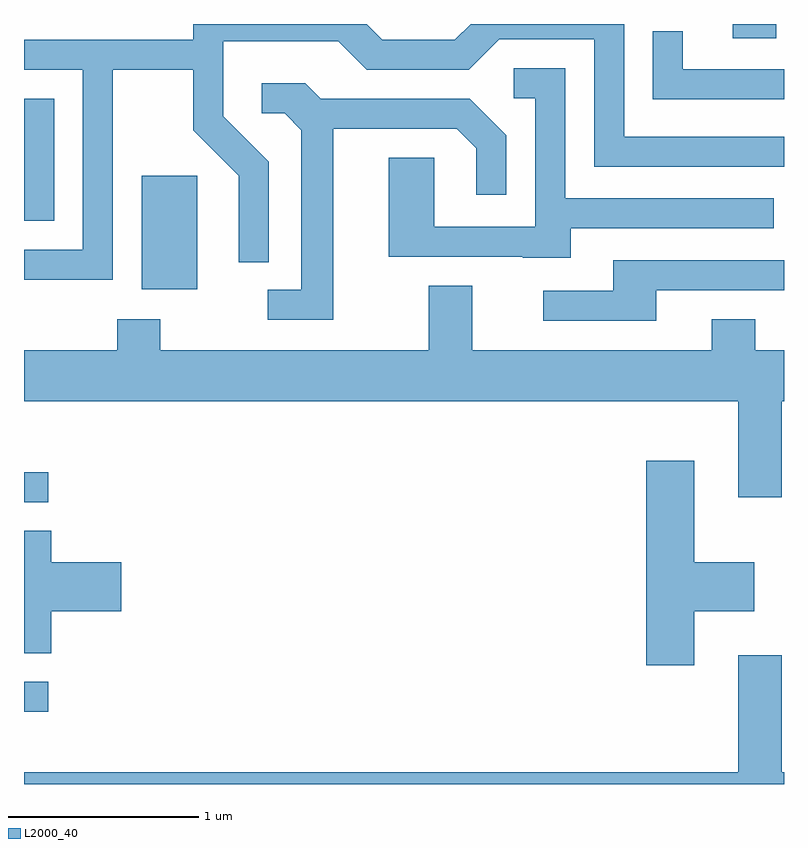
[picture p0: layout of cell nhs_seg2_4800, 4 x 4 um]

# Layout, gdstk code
import gdstk
lib = gdstk.Library(unit=1e-6, precision=1e-09)
def R(c, l, rs):  # rectangles x0, y0, x1, y1
    for r in rs: c.add(gdstk.rectangle(r[:2], r[2:], *l))
def P(c, l, *ps):  # polygons
    for p in ps: c.add(gdstk.Polygon(p, *l))
L2000_40 = (2000, 40)

nhs_seg2_4800 = lib.new_cell('nhs_seg2_4800')
R(nhs_seg2_4800, L2000_40, [(325.611,1102.181,325.738,1102.339), (325.611,1103.286,325.738,1103.444), (326.231,1104.406,326.524,1105.004), (325.611,1104.766,325.769,1105.409), (329.341,1105.726,329.569,1105.802)])
P(nhs_seg2_4800, L2000_40, [(326.079,1105.561),(326.501,1105.561),(326.501,1105.244),(326.741,1105.004),(326.741,1104.548),(326.899,1104.548),(326.899,1105.077),(326.659,1105.317),(326.659,1105.711),(327.264,1105.711),(327.414,1105.561),(327.952,1105.561),(328.112,1105.721),(328.611,1105.721),(328.611,1105.051),(329.611,1105.051),(329.611,1105.209),(328.769,1105.209),(328.769,1105.802),(327.962,1105.802),(327.879,1105.719),(327.497,1105.719),(327.414,1105.802),(326.501,1105.802),(326.501,1105.719),(325.611,1105.719),(325.611,1105.561),(325.921,1105.561),(325.921,1104.614),(325.611,1104.614),(325.611,1104.456),(326.079,1104.456)],
  [(329.611,1105.564),(329.079,1105.564),(329.079,1105.763),(328.921,1105.763),(328.921,1105.406),(329.611,1105.406)],
  [(328.489,1104.726),(329.558,1104.726),(329.558,1104.884),(328.459,1104.884),(328.459,1105.569),(328.188,1105.569),(328.188,1105.411),(328.301,1105.411),(328.301,1104.734),(327.769,1104.734),(327.769,1105.099),(327.531,1105.099),(327.531,1104.576),(328.235,1104.576),(328.235,1104.571),(328.489,1104.571)],
  [(327.239,1105.251),(327.889,1105.251),(327.991,1105.149),(327.991,1104.903),(328.149,1104.903),(328.149,1105.217),(327.957,1105.409),(327.172,1105.409),(327.092,1105.489),(326.863,1105.489),(326.863,1105.331),(326.984,1105.331),(327.071,1105.244),(327.071,1104.404),(326.893,1104.404),(326.893,1104.246),(327.239,1104.246)],
  [(328.939,1104.401),(329.611,1104.401),(329.611,1104.559),(328.711,1104.559),(328.711,1104.399),(328.343,1104.399),(328.343,1104.241),(328.939,1104.241)],
  [(329.599,1103.816),(329.611,1103.816),(329.611,1104.084),(329.459,1104.084),(329.459,1104.249),(329.231,1104.249),(329.231,1104.084),(327.969,1104.084),(327.969,1104.424),(327.741,1104.424),(327.741,1104.084),(326.329,1104.084),(326.329,1104.249),(326.101,1104.249),(326.101,1104.084),(325.611,1104.084),(325.611,1103.816),(329.371,1103.816),(329.371,1103.311),(329.599,1103.311)],
  [(329.139,1102.711),(329.454,1102.711),(329.454,1102.969),(329.139,1102.969),(329.139,1103.504),(328.886,1103.504),(328.886,1102.426),(329.139,1102.426)],
  [(325.754,1102.711),(326.124,1102.711),(326.124,1102.969),(325.754,1102.969),(325.754,1103.134),(325.611,1103.134),(325.611,1102.491),(325.754,1102.491)],
  [(329.611,1101.864),(329.599,1101.864),(329.599,1102.479),(329.371,1102.479),(329.371,1101.864),(325.611,1101.864),(325.611,1101.802),(329.611,1101.802)])

lib.write_gds('nhs_seg2_4800.gds')
